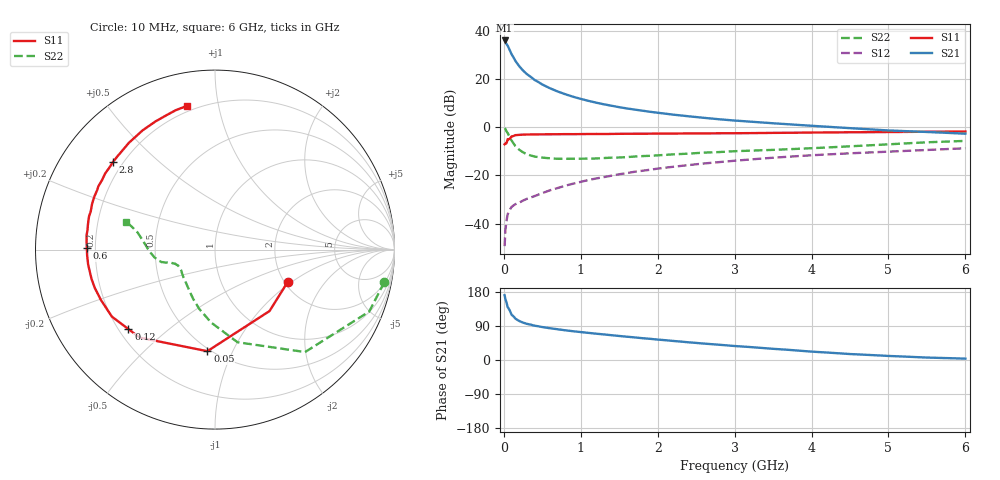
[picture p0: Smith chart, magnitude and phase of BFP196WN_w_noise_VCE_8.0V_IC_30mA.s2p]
! Infineon Technologies  Discrete & RF Semiconductors
! BFP196WN
! VCE =  8.0 V,  IC =  30 mA
! Common Emitter S-Parameters:  Jan 2017
# GHz  S  MA  R  50
!  f  S11  S21  S12  S22
! GHz  MAG  ANG  MAG  ANG  MAG  ANG  MAG  ANG
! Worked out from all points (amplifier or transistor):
!   77 points, 10 MHz to 6 GHz, reference 50 ohm
!   highest |S21| = 36.0 dB at 10 MHz (marker M1)
!   |S21| within 3 dB of that: start of sweep to 62.11 MHz
!   unconditionally stable (mu >= 1): 826.6 MHz to 2.662 GHz
!   at 130 MHz: K = 0.40, MSG = 30.6 dB, |S12| = -32.4 dB
!   at 2.2 GHz: K = 1.02, MAG = 9.9 dB, |S12| = -16.4 dB
!   at 6 GHz: K = 0.89, MSG = 3.0 dB, |S12| = -8.7 dB
!   lowest NFmin = 1.06 dB at 450 MHz
!   S11 on the Smith chart (normalised r, x): 10 MHz: 2.08, -0.93; 50 MHz: 0.48, -0.80; 120 MHz: 0.24, -0.37; 600 MHz: 0.17, +0.01; 2.8 GHz: 0.16, +0.36; 6 GHz: 0.17, +0.81
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0.01  0.4433 -24.0  63.34 171.0  0.0034 80.0  0.9606 -10.9
0.02  0.4577 -48.4  59.62 161.2  0.0073 75.3  0.9259 -21.9
0.05  0.5677 -94.3  49.2 139.4  0.0157 58.1  0.7599 -48.7
0.1  0.6454 -130.6  32.88 119.4  0.0222 47.2  0.5314 -76.3
0.12  0.6548 -137.4  29.19 116.1  0.0234 46.1  0.4769 -82.0
0.15  0.6853 -147.0  23.91 109.2  0.0253 44.6  0.4066 -93.1
0.2  0.695 -156.3  18.49 102.9  0.0272 45.1  0.3412 -105.0
0.25  0.7029 -162.3  15.03 98.6  0.0301 46.1  0.3017 -113.5
0.3  0.7072 -166.7  12.65 95.4  0.0327 48.5  0.2738 -120.8
0.4  0.7116 -173.2  9.607 90.5  0.0372 52.7  0.2465 -130.8
0.5  0.7131 -177.4  7.711 86.9  0.0429 55.9  0.2343 -138.4
0.6  0.7143 179.2  6.45 83.8  0.0492 58.1  0.2268 -143.9
0.7  0.7168 176.3  5.523 81.1  0.0547 60.9  0.2214 -147.6
0.8  0.7199 173.6  4.842 78.3  0.0613 62.3  0.2211 -150.2
1.1  0.7235 167.1  3.53 71.6  0.0803 64.0  0.2236 -156.2
1.5  0.7303 159.8  2.609 63.4  0.1056 64.3  0.2357 -160.8
2.1  0.7389 150.0  1.913 52.2  0.1447 62.4  0.2674 -164.2
2.8  0.7496 139.1  1.464 40.2  0.189 58.5  0.3055 -166.8
3.1  0.7535 134.7  1.343 35.6  0.2079 56.1  0.3223 -169.5
4.1  0.7784 120.0  1.049 20.9  0.2672 48.6  0.3736 179.5
5.1  0.7978 109.1  0.846 9.9  0.3166 41.2  0.4509 166.8
6  0.8158 100.9  0.735 3.6  0.3664 35.1  0.5206 162.7
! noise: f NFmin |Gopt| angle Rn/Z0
0.45  1.06  0.46  178  0.04
0.9  1.19  0.52  184  0.05
1.9  2.13  0.68  211  0.13
2.4  2.86  0.69  218  0.24
